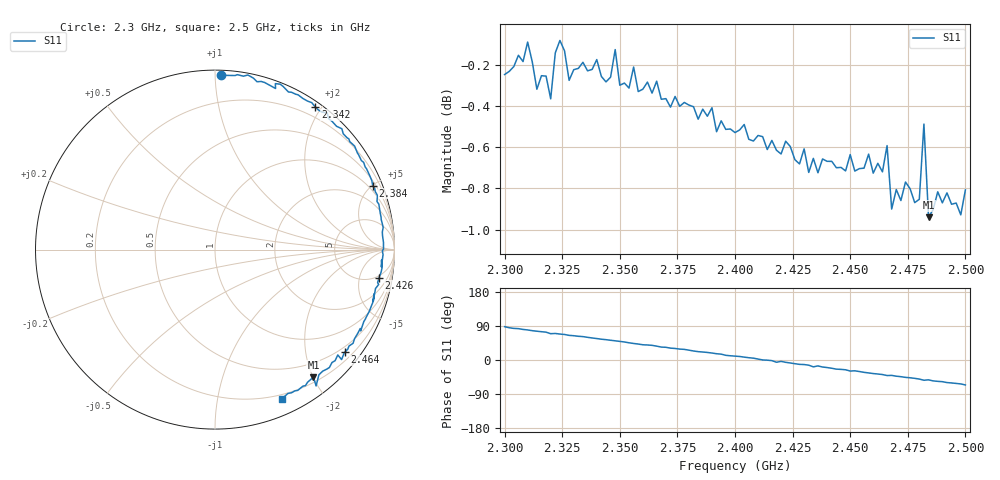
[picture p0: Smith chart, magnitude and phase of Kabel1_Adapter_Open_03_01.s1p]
# HZ S RI R 50
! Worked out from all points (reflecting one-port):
!   101 points, 2.3 GHz to 2.5 GHz, reference 50 ohm
!   lowest |S11| = -0.9 dB at 2.484 GHz (marker M1), VSWR 18.51, Z = 13.7 - j100 ohm
!   phase of S11 starts at 88 deg and turns -154 deg over the sweep
!   S11 on the Smith chart (normalised r, x): 2.3 GHz: 0.03, +1.04; 2.342 GHz: 0.07, +1.92; 2.384 GHz: 0.72, +5.03; 2.426 GHz: 4, -10; 2.464 GHz: 0.38, -2.83; 2.5 GHz: 0.16, -1.53
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2.3e9  0.0347 0.9714
2.31e9  0.1832 0.9728
2.318e9  0.2768 0.9309
2.32e9  0.3374 0.8976
2.326e9  0.3796 0.909
2.342e9  0.5588 0.7941
2.35e9  0.6326 0.7303
2.356e9  0.7067 0.6733
2.376e9  0.8366 0.4604
2.384e9  0.8787 0.356
2.4e9  0.9262 0.1661
2.416e9  0.9365 -0.0274
2.418e9  0.9268 -0.0962
2.42e9  0.928 -0.0583
2.426e9  0.9134 -0.1571
2.432e9  0.8943 -0.217
2.434e9  0.8816 -0.2881
2.436e9  0.8863 -0.2468
2.45e9  0.8116 -0.453
2.452e9  0.8093 -0.4396
2.464e9  0.7217 -0.5714
2.466e9  0.7052 -0.6127
2.468e9  0.6843 -0.587
2.476e9  0.6231 -0.6658
2.48e9  0.5789 -0.6975
2.482e9  0.5632 -0.7594
2.484e9  0.5483 -0.7105
2.5e9  0.372 -0.8319
